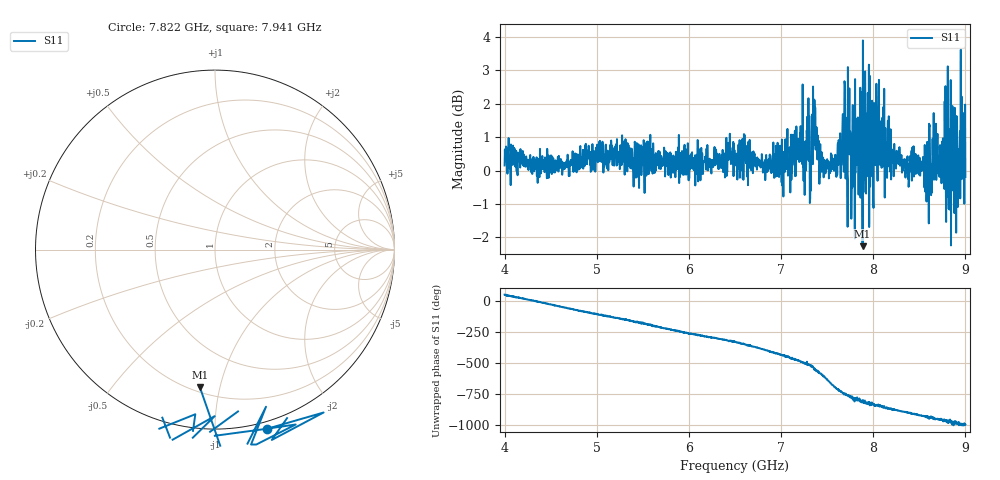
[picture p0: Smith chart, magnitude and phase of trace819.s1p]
! Created with skrf 1.8.0 (http://scikit-rf.org).
# Hz S RI R 50.0
!freq ReS11 ImS11
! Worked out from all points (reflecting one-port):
!   1601 points, 4 GHz to 9 GHz, reference 50 ohm
!   lowest |S11| = -2.3 dB at 7.884 GHz (marker M1), VSWR 7.72, Z = 11.5 - j43.4 ohm
!   phase of S11 starts at 52 deg and turns -1048 deg over the sweep
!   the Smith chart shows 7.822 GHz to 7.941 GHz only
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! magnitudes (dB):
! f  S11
! 4 GHz  0.2
! 4.625 GHz  -0.1
! 5.25 GHz  0.0
! 5.875 GHz  0.2
! 6.5 GHz  0.2
! 6.838 GHz  0.5
! 7.125 GHz  0.9
! 7.262 GHz  0.9
! 7.284 GHz  1.6
! 7.325 GHz  0.2
! 7.359 GHz  1.6
! 7.412 GHz  0.1
! 7.469 GHz  0.3
! 7.597 GHz  0.4
! 7.684 GHz  1.1
! 7.697 GHz  0.5
! 7.75 GHz  1.2
! 7.788 GHz  0.7
! 7.884 GHz  -2.3
! 7.962 GHz  2.8
! 7.981 GHz  0.1
! 8.097 GHz  0.9
! 8.375 GHz  0.1
! 8.578 GHz  -0.9
! 8.784 GHz  2.5
! 8.919 GHz  -0.6
! 8.956 GHz  0.2
! 9 GHz  -0.2
